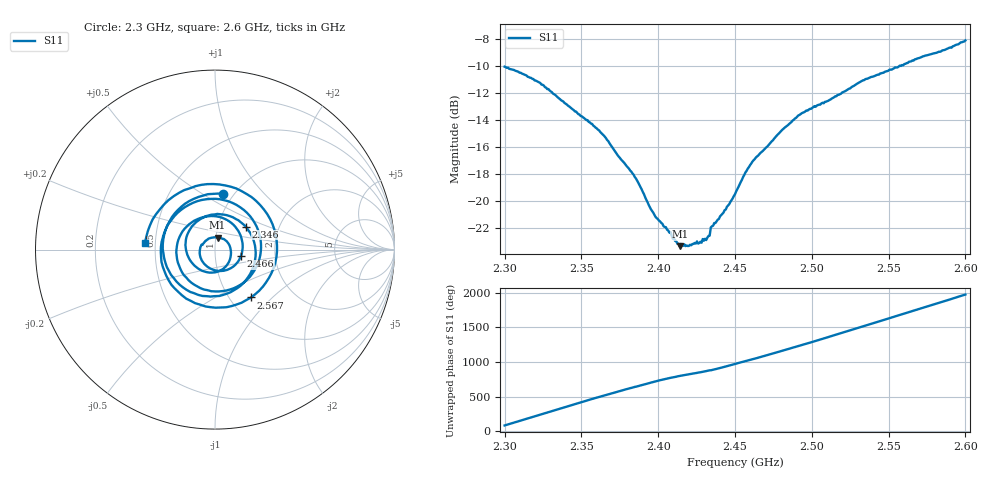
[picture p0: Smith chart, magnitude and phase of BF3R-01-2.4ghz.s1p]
! NanoVNA-App
! Date: 2026-05-22 16:05:47
! Start: 2.3GHz Stop: 2.6GHz Points: 401
! S-Parameter data: F S11
# Hz S RI R 50
!  Frequency  S11_Real  S11_Imag
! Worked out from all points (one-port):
!   401 points, 2.3 GHz to 2.6 GHz, reference 50 ohm
!   lowest |S11| = -23.3 dB at 2.414 GHz (marker M1), VSWR 1.15, Z = 51 + j6.82 ohm
!   |S11| at or under -10 dB: start of sweep to 2.557 GHz; 2.557707 GHz to 2.558103 GHz (395.9 kHz wide, 0.0155 % of centre)
!   S11 on the Smith chart (normalised r, x): 2.3 GHz: 0.89, +0.62; 2.346 GHz: 1.36, +0.37; 2.466 GHz: 1.33, -0.10; 2.567 GHz: 1.25, -0.75; 2.6 GHz: 0.44, +0.04
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2.3e9  0.0439 0.3109
2.309e9  -0.2407 0.18
2.315e9  -0.2875 -0.0199
2.32625e9  -0.0486 -0.2593
2.3375e9  0.2132 -0.0978
2.3465e9  0.1714 0.1287
2.354e9  0.0124 0.1989
2.363e9  -0.1427 0.1068
2.375e9  -0.1119 -0.0915
2.393e9  0.0833 -0.054
2.4125e9  0.0219 0.0659
2.414e9  0.0142 0.0666
2.45e9  -0.0342 -0.1004
2.46575e9  0.1442 -0.0364
2.47925e9  0.0547 0.171
2.4875e9  -0.1163 0.1608
2.498e9  -0.2113 -0.053
2.50925e9  -0.000396 -0.2331
2.525e9  0.2479 0.0816
2.53625e9  -0.0231 0.2825
2.5475e9  -0.2975 0.0424
2.55425e9  -0.2426 -0.1964
2.5625e9  0.0313 -0.3225
2.567e9  0.2013 -0.2665
2.57675e9  0.3387 0.0811
2.5865e9  0.0575 0.3575
2.5925e9  -0.202 0.3153
2.6e9  -0.3909 0.0355
